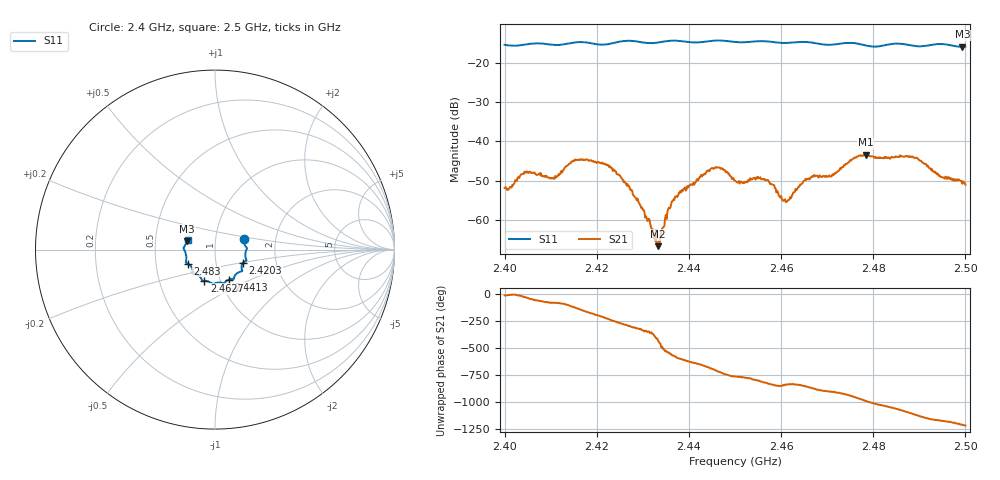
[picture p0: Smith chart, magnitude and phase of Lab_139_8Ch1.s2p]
# Hz S RI R 50
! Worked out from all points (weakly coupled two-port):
!   601 points, 2.4 GHz to 2.5 GHz, reference 50 ohm
!   highest |S21| = -43.38 dB at 2.4783 GHz (marker M1); lowest = -66.7 dB at 2.4333 GHz (marker M2)
!   lowest |S11| = -15.8 dB at 2.4993 GHz (marker M3), VSWR 1.39, Z = 36.5 + j3.55 ohm
!   |S11| at or under -10 dB: start of sweep to end of sweep
!   S12 and S22 are empty: the file has one direction only
!   S11 on the Smith chart (normalised r, x): 2.4 GHz: 1.37, +0.17; 2.4203 GHz: 1.35, -0.20; 2.4413 GHz: 1.10, -0.38; 2.4627 GHz: 0.84, -0.30; 2.483 GHz: 0.73, -0.12; 2.5 GHz: 0.73, +0.08
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2.4e9  0.1607 0.0586  0.0025 -0.000534  0 0  0 0
2.404833e9  0.1734 0.0147  0.00346 -0.00231  0 0  0 0
2.410833e9  0.1697 -0.0166  0.000567 -0.00329  0 0  0 0
2.416667e9  0.1752 -0.061  -0.00501 -0.00321  0 0  0 0
2.420333e9  0.157 -0.0729  -0.00517 0.00186  0 0  0 0
2.427167e9  0.1508 -0.12  0.00119 0.00223  0 0  0 0
2.433333e9  0.1093 -0.1471  9.26e-05 -0.000452  0 0  0 0
2.436667e9  0.1046 -0.163  -0.00158 0.000914  0 0  0 0
2.441333e9  0.0763 -0.1669  0.000565 0.00292  0 0  0 0
2.446167e9  0.0502 -0.188  0.00464 0.000419  0 0  0 0
2.45e9  0.0311 -0.1835  0.00222 -0.00226  0 0  0 0
2.456833e9  -0.0147 -0.1891  -0.000832 -0.00308  0 0  0 0
2.460833e9  -0.0443 -0.1754  -0.00102 -0.00152  0 0  0 0
2.462667e9  -0.0596 -0.1737  -0.000913 -0.00205  0 0  0 0
2.466667e9  -0.0737 -0.1674  -0.00319 -0.00151  0 0  0 0
2.471e9  -0.0995 -0.1399  -0.00358 0.00038  0 0  0 0
2.478333e9  -0.1243 -0.1134  0.000266 0.00677  0 0  0 0
2.483e9  -0.153 -0.0775  0.00506 0.00362  0 0  0 0
2.483333e9  -0.1551 -0.0763  0.00527 0.00338  0 0  0 0
2.489e9  -0.1596 -0.043  0.00471 -0.00391  0 0  0 0
2.499333e9  -0.1544 0.0473  -0.00199 -0.0021  0 0  0 0
2.5e9  -0.1524 0.0562  -0.00215 -0.0018  0 0  0 0
